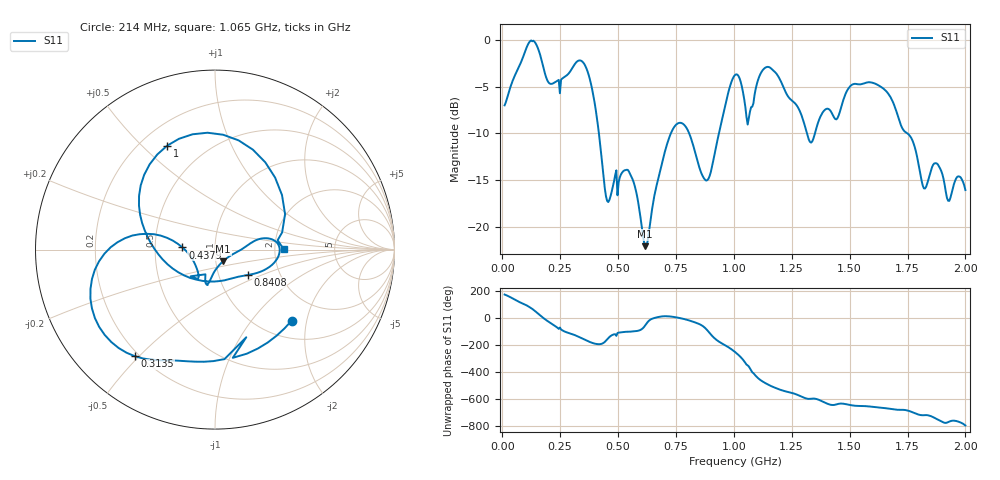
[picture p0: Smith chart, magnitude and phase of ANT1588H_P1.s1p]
!Created with skrf (http://scikit-rf.org).
# Hz S RI R 50.0
!freq ReS11 ImS11
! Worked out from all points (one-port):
!   401 points, 10 MHz to 2 GHz, reference 50 ohm
!   lowest |S11| = -22.0 dB at 617 MHz (marker M1), VSWR 1.17, Z = 54.2 - j7.1 ohm
!   |S11| at or under -10 dB: 417.3 MHz to 727.9 MHz (310.6 MHz wide, 54.3 % of centre); 807.2 MHz to 935.4 MHz (128.3 MHz wide, 14.7 % of centre); 1.75 GHz to end of sweep (the widest 3 of 4)
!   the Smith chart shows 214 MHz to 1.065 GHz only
!   S11 on the Smith chart (normalised r, x): 214 MHz: 1.36, -1.63; 313.5 MHz: 0.18, -0.49; 437.9 MHz: 0.69, +0.02; 840.8 MHz: 1.37, -0.41; 1 GHz: 0.31, +0.60; 1.065 GHz: 2.24, +0.01
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1e7  -0.4447 0.0453
6.4725e7  -0.4063 0.5548
1.1945e8  0.1937 0.9632
1.5925e8  0.7759 0.3816
2.13975e8  0.4263 -0.3969
2.5875e8  -0.0105 -0.6215
3.13475e8  -0.4473 -0.5939
3.63225e8  -0.6853 -0.1636
4.3785e8  -0.1816 0.0122
5.075e8  -0.0546 -0.1761
5.5725e8  -0.0337 -0.183
6.1695e8  0.0449 -0.065
7.5625e8  0.3562 0.0207
8.40825e8  0.1813 -0.1417
9.20425e8  -0.2358 -0.1053
9.70175e8  -0.4235 0.245
1.000025e9  -0.2671 0.5786
1.005e9  -0.2008 0.6173
1.029875e9  0.2111 0.5568
1.0647e9  0.3834 0.00133
1.119425e9  -0.1845 -0.6482
1.17415e9  -0.6152 -0.2887
1.25375e9  -0.4501 0.1393
1.33335e9  -0.1441 0.243
1.5025e9  0.1537 0.5445
1.75125e9  0.2648 0.1712
1.8209e9  0.1608 -0.00276
2e9  0.0343 -0.1538
